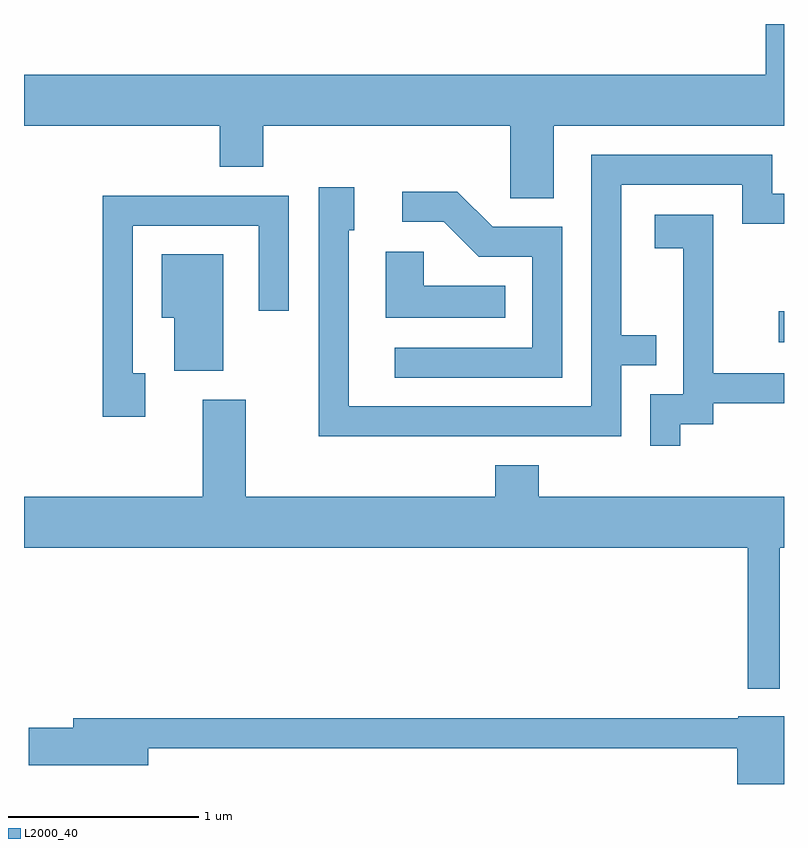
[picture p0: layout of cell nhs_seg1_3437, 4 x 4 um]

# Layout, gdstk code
import gdstk
lib = gdstk.Library(unit=1e-6, precision=1e-09)
def R(c, l, rs):  # rectangles x0, y0, x1, y1
    for r in rs: c.add(gdstk.rectangle(r[:2], r[2:], *l))
def P(c, l, *ps):  # polygons
    for p in ps: c.add(gdstk.Polygon(p, *l))
L2000_40 = (2000, 40)

nhs_seg1_3437 = lib.new_cell('nhs_seg1_3437')
R(nhs_seg1_3437, L2000_40, [(293.583,854.036,293.611,854.199)])
P(nhs_seg1_3437, L2000_40, [(292.399,855.176),(293.611,855.176),(293.611,855.712),(293.516,855.712),(293.516,855.444),(289.611,855.444),(289.611,855.176),(290.641,855.176),(290.641,854.961),(290.869,854.961),(290.869,855.176),(292.171,855.176),(292.171,854.796),(292.399,854.796)],
  [(292.754,853.916),(292.938,853.916),(292.938,854.074),(292.754,854.074),(292.754,854.866),(293.391,854.866),(293.391,854.661),(293.611,854.661),(293.611,854.819),(293.549,854.819),(293.549,855.024),(292.596,855.024),(292.596,853.699),(291.319,853.699),(291.319,854.626),(291.349,854.626),(291.349,854.854),(291.161,854.854),(291.161,853.541),(292.754,853.541)],
  [(292.444,854.644),(292.077,854.644),(291.892,854.829),(291.603,854.829),(291.603,854.671),(291.819,854.671),(292.004,854.486),(292.286,854.486),(292.286,854.009),(291.563,854.009),(291.563,853.851),(292.444,853.851)],
  [(290.249,853.874),(290.184,853.874),(290.184,854.651),(290.846,854.651),(290.846,854.203),(291.004,854.203),(291.004,854.809),(290.026,854.809),(290.026,853.646),(290.249,853.646)],
  [(293.064,853.606),(293.239,853.606),(293.239,853.716),(293.611,853.716),(293.611,853.874),(293.239,853.874),(293.239,854.709),(292.931,854.709),(292.931,854.531),(293.081,854.531),(293.081,853.764),(292.906,853.764),(292.906,853.493),(293.064,853.493)],
  [(292.143,854.334),(291.714,854.334),(291.714,854.514),(291.516,854.514),(291.516,854.166),(292.143,854.166)],
  [(290.659,854.499),(290.336,854.499),(290.336,854.166),(290.401,854.166),(290.401,853.886),(290.659,853.886)],
  [(293.589,852.956),(293.611,852.956),(293.611,853.224),(292.319,853.224),(292.319,853.389),(292.091,853.389),(292.091,853.224),(290.779,853.224),(290.779,853.734),(290.551,853.734),(290.551,853.224),(289.611,853.224),(289.611,852.956),(293.421,852.956),(293.421,852.213),(293.589,852.213)],
  [(293.611,852.069),(293.37,852.069),(293.37,852.059),(289.871,852.059),(289.871,852.009),(289.636,852.009),(289.636,851.811),(290.264,851.811),(290.264,851.901),(293.366,851.901),(293.366,851.712),(293.611,851.712)])

lib.write_gds('nhs_seg1_3437.gds')
